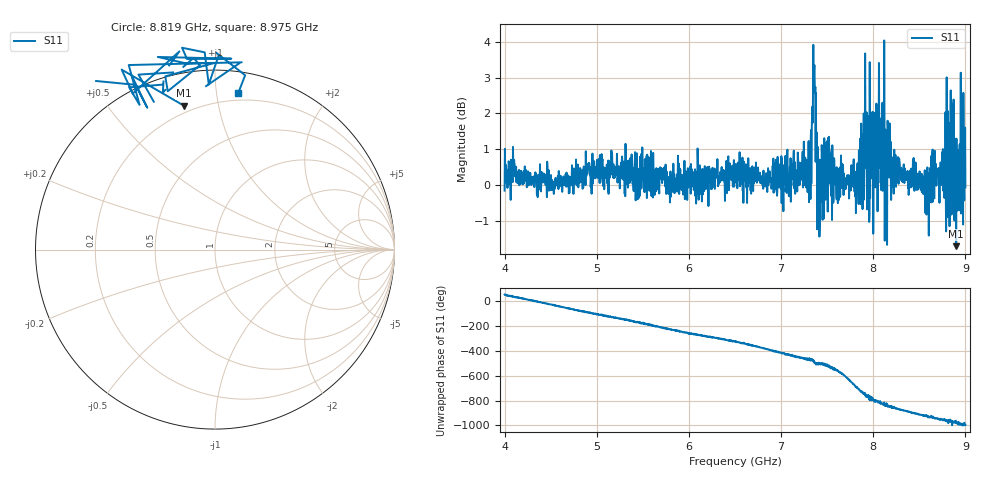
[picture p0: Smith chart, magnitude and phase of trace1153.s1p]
! Created with skrf 1.8.0 (http://scikit-rf.org).
# Hz S RI R 50.0
!freq ReS11 ImS11
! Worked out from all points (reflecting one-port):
!   1601 points, 4 GHz to 9 GHz, reference 50 ohm
!   lowest |S11| = -1.7 dB at 8.9 GHz (marker M1), VSWR 10.18, Z = 8.05 + j39.7 ohm
!   phase of S11 starts at 53 deg and turns -1050 deg over the sweep
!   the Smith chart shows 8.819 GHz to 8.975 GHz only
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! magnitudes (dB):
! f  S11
! 4 GHz  -0.2
! 4.094 GHz  0.5
! 4.625 GHz  -0.2
! 5.25 GHz  -0.1
! 5.875 GHz  0.3
! 6.5 GHz  0.4
! 7.125 GHz  0.3
! 7.294 GHz  0.1
! 7.356 GHz  2.9
! 7.412 GHz  0.3
! 7.512 GHz  1.3
! 7.578 GHz  0.7
! 7.75 GHz  0.1
! 7.878 GHz  -0.4
! 7.928 GHz  2.0
! 7.981 GHz  0.6
! 8.012 GHz  2.0
! 8.097 GHz  0.3
! 8.15 GHz  -1.7
! 8.178 GHz  1.7
! 8.209 GHz  0.4
! 8.375 GHz  0.3
! 8.603 GHz  -1.4
! 8.766 GHz  0.9
! 8.819 GHz  1.3
! 8.9 GHz  -1.7
! 8.956 GHz  0.4
! 9 GHz  -0.1
